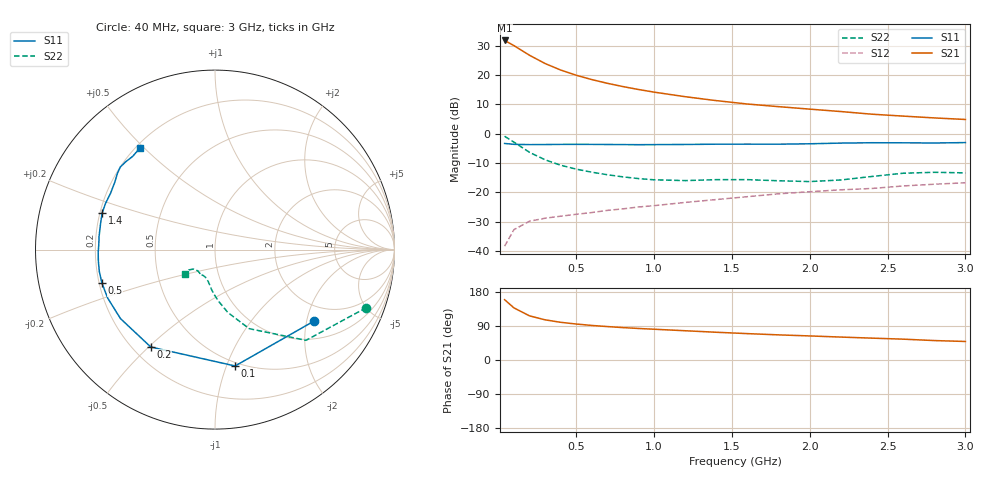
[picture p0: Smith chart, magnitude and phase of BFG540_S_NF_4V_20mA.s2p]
! Filename:  BFG540C.S2P  Version:  3.0
! Philips part #: BFG540  Date: Feb 1992
! Bias condition: Vce=4V, Ic=20mA
! IN LINE PINNING: same data as with cross emitter pinning.
#  MHz  S  MA  R  50
! Freq  S11  S21  S12  S22  !GUM [dB]
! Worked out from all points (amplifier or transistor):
!   21 points, 40 MHz to 3 GHz, reference 50 ohm
!   highest |S21| = 31.8 dB at 40 MHz (marker M1)
!   |S21| within 3 dB of that: start of sweep to 137.6 MHz
!   unconditionally stable (mu >= 1): 905.7 MHz to end of sweep
!   at 300 MHz: K = 0.50, MSG = 26.4 dB, |S12| = -28.9 dB
!   at 1 GHz: K = 1.05, MAG = 18.0 dB, |S12| = -24.6 dB
!   at 3 GHz: K = 1.17, MAG = 8.3 dB, |S12| = -16.8 dB
!   lowest NFmin = 1.50 dB at 900 MHz
!   S11 on the Smith chart (normalised r, x): 40 MHz: 1.49, -2.21; 100 MHz: 0.47, -1.07; 200 MHz: 0.27, -0.51; 500 MHz: 0.21, -0.14; 1.4 GHz: 0.21, +0.15; 3 GHz: 0.22, +0.49
40  0.68 -35.9  39.02 159.1  0.012 73.1  0.903 -21.0
100  0.658 -80.2  31.86 137.5  0.023 56.1  0.716 -44.9
200  0.65 -123.4  21.8 116.5  0.032 44.4  0.48 -66.6
300  0.652 -143.9  15.76 106.0  0.036 41.8  0.358 -78.4
400  0.656 -155.6  12.2 99.5  0.039 42.9  0.289 -86.0
500  0.657 -163.5  9.939 94.9  0.042 44.6  0.248 -91.4
600  0.656 -169.4  8.383 91.2  0.045 47.4  0.22 -95.4
700  0.653 -174.4  7.24 88.2  0.049 49.2  0.199 -98.6
800  0.651 -178.7  6.368 85.5  0.052 51.2  0.183 -101.7
900  0.648 177.4  5.675 83.2  0.056 53.4  0.171 -105.2
1000  0.65 173.6  5.117 81.2  0.059 55.2  0.163 -108.8
1200  0.654 167.1  4.276 77.2  0.067 57.7  0.158 -115.6
1400  0.661 162.0  3.664 73.2  0.075 59.1  0.164 -119.4
1600  0.662 157.2  3.206 69.6  0.084 61.6  0.164 -120.4
1800  0.661 151.9  2.891 66.3  0.094 61.9  0.157 -122.3
2000  0.672 146.3  2.623 63.5  0.102 63.2  0.152 -129.0
2200  0.69 142.0  2.385 60.5  0.11 63.4  0.162 -137.9
2400  0.7 138.9  2.149 57.7  0.116 64.5  0.186 -142.5
2600  0.698 135.7  1.994 55.0  0.128 63.8  0.211 -141.9
2800  0.693 131.4  1.857 51.3  0.137 61.9  0.219 -140.0
3000  0.704 126.3  1.747 48.9  0.145 62.8  0.214 -141.5
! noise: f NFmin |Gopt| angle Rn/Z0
900  1.5  0.281  159  0.11
2000  2.2  0.518  -157  0.12
